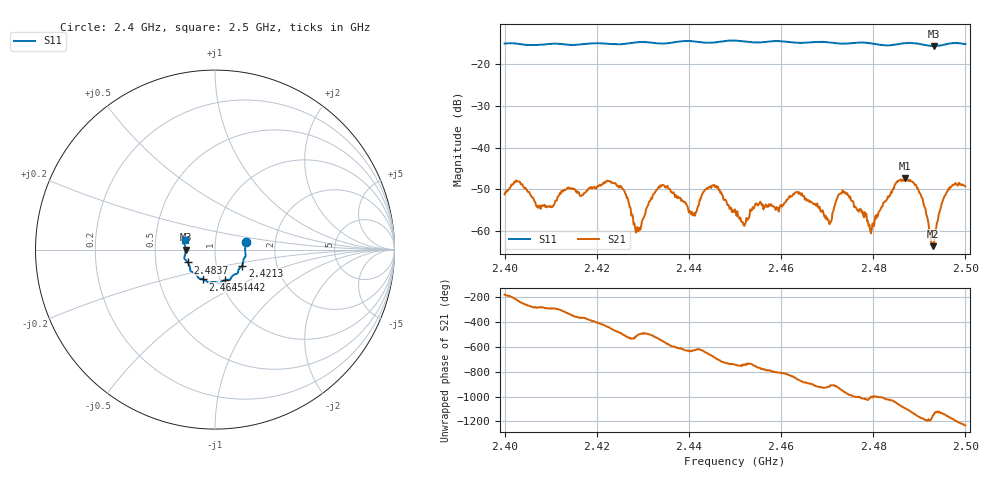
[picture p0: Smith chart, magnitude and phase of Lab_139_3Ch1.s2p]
# Hz S RI R 50
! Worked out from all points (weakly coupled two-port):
!   601 points, 2.4 GHz to 2.5 GHz, reference 50 ohm
!   highest |S21| = -47.37 dB at 2.4868 GHz (marker M1); lowest = -63.6 dB at 2.493 GHz (marker M2)
!   lowest |S11| = -15.7 dB at 2.4932 GHz (marker M3), VSWR 1.39, Z = 35.9 - j0.0528 ohm
!   |S11| at or under -10 dB: start of sweep to end of sweep
!   S12 and S22 are empty: the file has one direction only
!   S11 on the Smith chart (normalised r, x): 2.4 GHz: 1.41, +0.12; 2.4213 GHz: 1.33, -0.25; 2.4442 GHz: 1.05, -0.37; 2.4645 GHz: 0.83, -0.29; 2.4837 GHz: 0.73, -0.11; 2.5 GHz: 0.71, +0.07
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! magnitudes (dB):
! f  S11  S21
! 2.4 GHz  -15.1  -51.2
! 2.4167 GHz  -15.3  -51.5
! 2.4213 GHz  -15.1  -48.5
! 2.4255 GHz  -15.3  -49.7
! 2.429 GHz  -14.8  -60.0
! 2.4333 GHz  -15.1  -49.6
! 2.441 GHz  -14.6  -56.1
! 2.4442 GHz  -14.9  -49.8
! 2.45 GHz  -14.4  -54.8
! 2.4645 GHz  -15.0  -50.9
! 2.4667 GHz  -14.8  -53.1
! 2.4705 GHz  -14.9  -58.3
! 2.4738 GHz  -15.1  -50.6
! 2.4797 GHz  -15.1  -59.7
! 2.4833 GHz  -15.6  -51.9
! 2.4837 GHz  -15.5  -51.5
! 2.4868 GHz  -15.0  -47.4
! 2.4902 GHz  -15.2  -51.0
! 2.493 GHz  -15.7  -63.6
! 2.4932 GHz  -15.7  -63.2
! 2.4958 GHz  -15.3  -51.0
! 2.5 GHz  -15.3  -49.3
